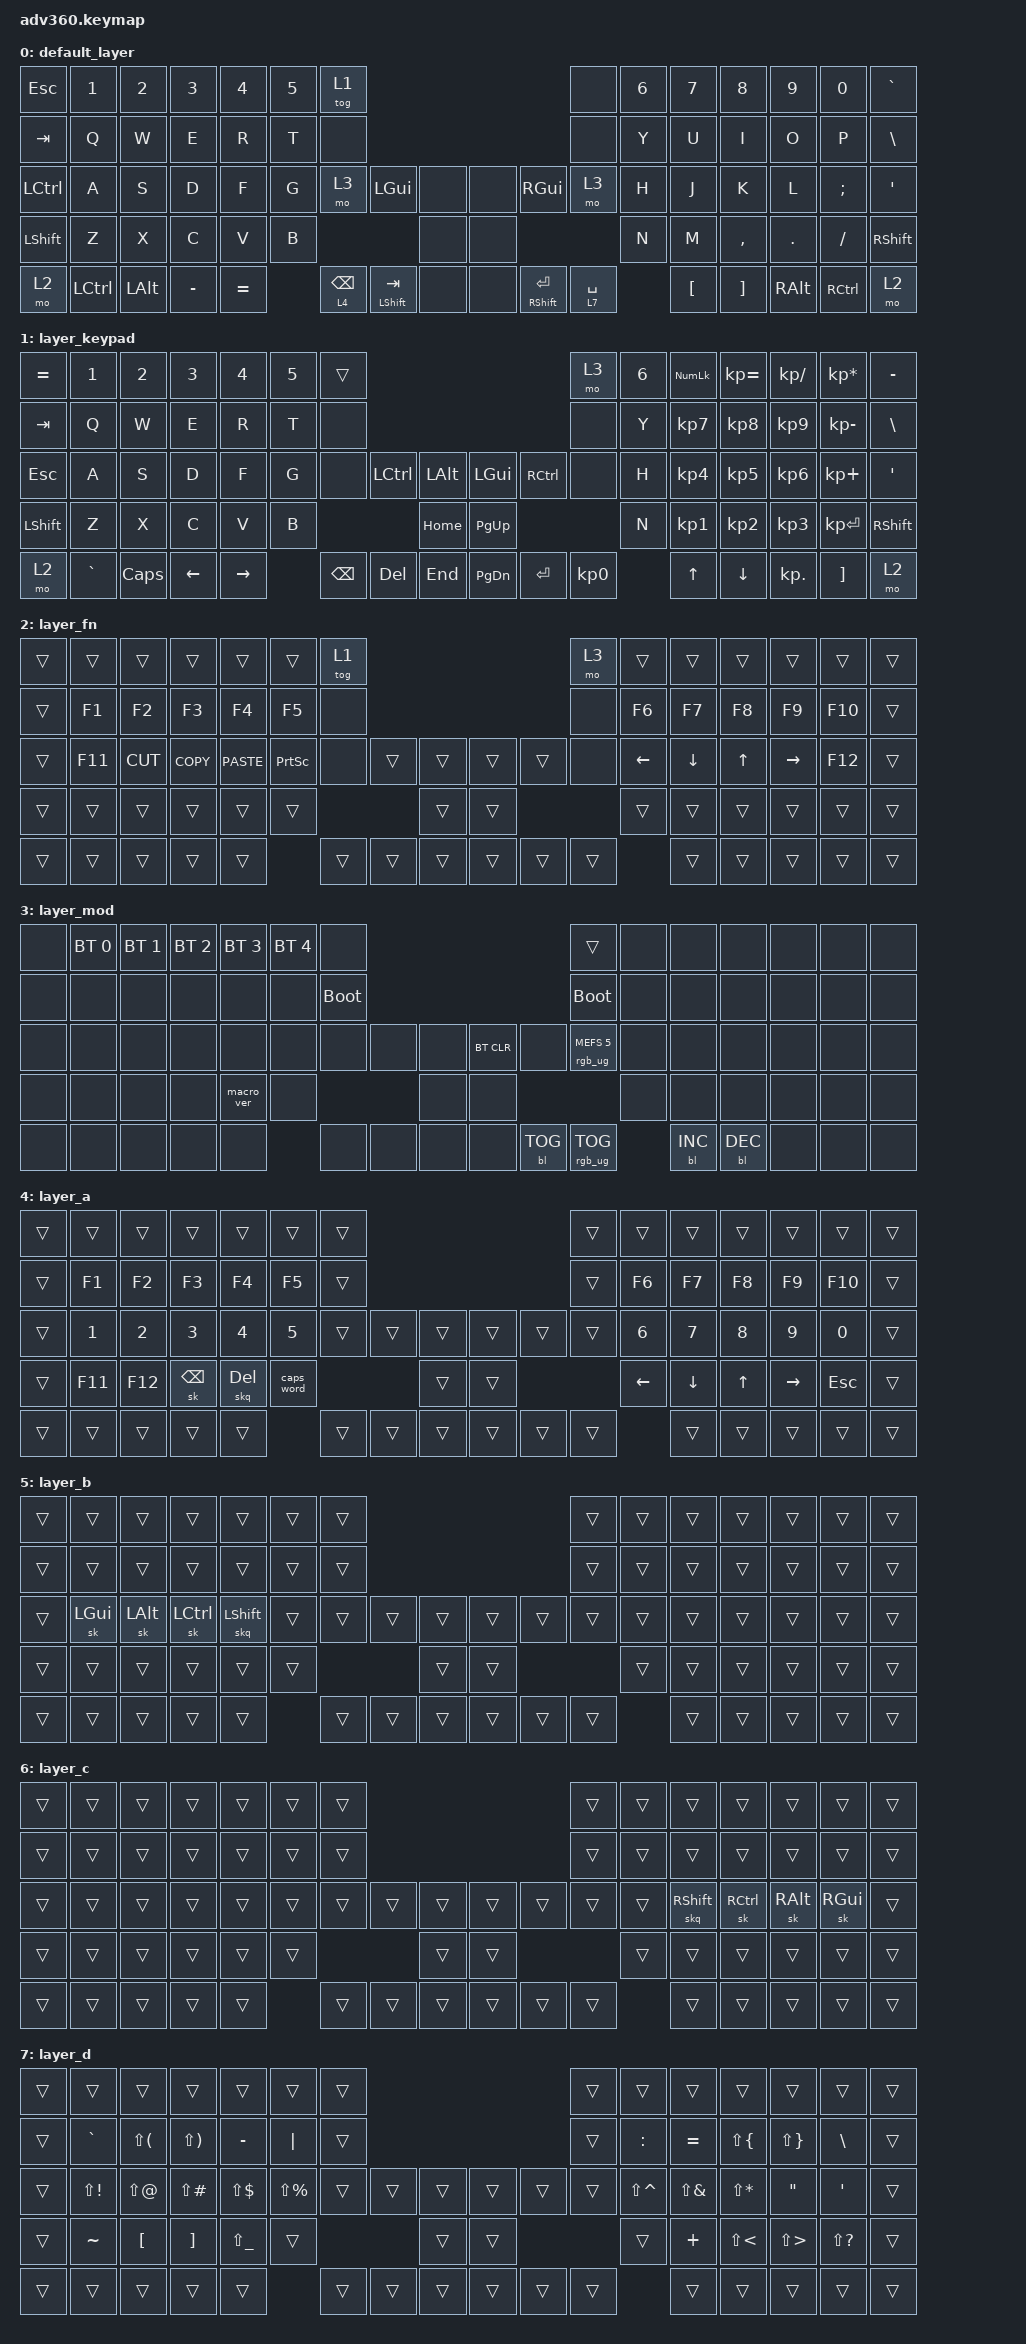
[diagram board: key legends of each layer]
/*
 * Copyright (c) 2020 The ZMK Contributors
 *
 * SPDX-License-Identifier: MIT
 */
/* THIS FILE WAS GENERATED!
 *
 * This file was generated automatically. You may or may not want to
 * edit it directly.
 */

#include <dt-bindings/zmk/stp.h>
#include <behaviors.dtsi>
#include <dt-bindings/zmk/backlight.h>
#include <dt-bindings/zmk/bt.h>
#include <dt-bindings/zmk/keys.h>
#include <dt-bindings/zmk/rgb.h>

/ {
    behaviors {
        #include "macros.dtsi"
    #include "version.dtsi"

        hm: homerow_mods {
            compatible = "zmk,behavior-hold-tap";
            label = "HOMEROW_MODS";
            #binding-cells = <2>;
            tapping-term-ms = <200>;
            quick_tap_ms = <175>;
            flavor = "tap-preferred";
            bindings = <&kp>, <&kp>;
        };

        ht_tap_kp: ht_tap_kp {
            compatible = "zmk,behavior-hold-tap";
            label = "HT_TAP_KP";
            bindings = <&kp>, <&kp>;

            #binding-cells = <2>;
            tapping-term-ms = <200>;
            flavor = "tap-preferred";
            quick-tap-ms = <150>;
        };

        ht_tap_mo: ht_tap_mo {
            compatible = "zmk,behavior-hold-tap";
            label = "HT_TAP_MO";
            bindings = <&mo>, <&kp>;

            #binding-cells = <2>;
            tapping-term-ms = <200>;
            flavor = "tap-preferred";
            quick-tap-ms = <150>;
        };

        ht_hold_kp: ht_hold_kp {
            compatible = "zmk,behavior-hold-tap";
            label = "HT_HOLD_KP";
            bindings = <&kp>, <&kp>;

            #binding-cells = <2>;
            tapping-term-ms = <150>;
            flavor = "hold-preferred";
        };

        ht_hold_mo: ht_hold_mo {
            compatible = "zmk,behavior-hold-tap";
            label = "HT_HOLD_MO";
            bindings = <&mo>, <&kp>;

            #binding-cells = <2>;
            tapping-term-ms = <150>;
            flavor = "hold-preferred";
        };

        skq: skq {
            compatible = "zmk,behavior-sticky-key";
            label = "SKQ";
            bindings = <&kp>;
            #binding-cells = <1>;
            release-after-ms = <1000>;
            quick-release;
            ignore-modifiers;
        };
    };

    combos {
        compatible = "zmk,combos";

        combo_lc {
            bindings = <&skq LCTRL>;
            key-positions = <32 31>;
            timeout-ms = <40>;
        };

        combo_lm {
            bindings = <&skq LALT>;
            key-positions = <32 30>;
            timeout-ms = <40>;
        };

        combo_lcm {
            bindings = <&skq LC(LALT)>;
            key-positions = <30 32 31>;
            timeout-ms = <40>;
        };

        combo_rc {
            bindings = <&skq RCTRL>;
            key-positions = <41 42>;
            timeout-ms = <40>;
        };

        combo_rm {
            bindings = <&skq RALT>;
            key-positions = <41 43>;
            timeout-ms = <40>;
        };

        combo_rcm {
            bindings = <&skq RC(RALT)>;
            key-positions = <42 43 41>;
            timeout-ms = <40>;
        };

        combo_lg {
            bindings = <&skq LGUI>;
            key-positions = <29 32>;
            timeout-ms = <40>;
        };

        combo_rg {
            bindings = <&skq RGUI>;
            key-positions = <41 44>;
            timeout-ms = <40>;
        };

        combo_lgc {
            bindings = <&skq LG(LCTRL)>;
            key-positions = <29 31>;
            timeout-ms = <40>;
        };

        combo_lgm {
            bindings = <&skq LG(LALT)>;
            key-positions = <29 30>;
            timeout-ms = <40>;
        };

        combo_lgcm {
            bindings = <&skq LC(LG(LALT))>;
            key-positions = <29 30 31>;
            timeout-ms = <40>;
        };

        combo_rgc {
            bindings = <&skq RG(RCTRL)>;
            key-positions = <42 44>;
            timeout-ms = <40>;
        };

        combo_rgm {
            bindings = <&skq RG(RALT)>;
            key-positions = <44 43>;
            timeout-ms = <40>;
        };

        combo_rgcm {
            bindings = <&skq RC(RG(RALT))>;
            key-positions = <44 43 42>;
            timeout-ms = <40>;
        };

        combo_lsc {
            bindings = <&skq LS(LCTRL)>;
            key-positions = <49 50>;
            timeout-ms = <40>;
        };

        combo_lsm {
            bindings = <&skq LS(LALT)>;
            key-positions = <48 50>;
            timeout-ms = <40>;
        };

        combo_lscm {
            bindings = <&skq LC(LS(LALT))>;
            key-positions = <49 48 50>;
            timeout-ms = <40>;
        };

        combo_lsg {
            bindings = <&skq LS(LGUI)>;
            key-positions = <50 47>;
            timeout-ms = <40>;
        };

        combo_lsgc {
            bindings = <&skq LG(LS(LCTRL))>;
            key-positions = <47 49>;
            timeout-ms = <40>;
        };

        combo_lsgm {
            bindings = <&skq LG(LS(LALT))>;
            key-positions = <47 48>;
            timeout-ms = <40>;
        };

        combo_lsgcm {
            bindings = <&skq LC(LG(LS(LALT)))>;
            key-positions = <47 48 49>;
            timeout-ms = <40>;
        };

        combo_rsc {
            bindings = <&skq RS(RCTRL)>;
            key-positions = <55 56>;
            timeout-ms = <40>;
        };

        combo_rsm {
            bindings = <&skq RS(RALT)>;
            key-positions = <55 57>;
            timeout-ms = <40>;
        };

        combo_rscm {
            bindings = <&skq RC(RS(RALT))>;
            key-positions = <55 56 57>;
            timeout-ms = <40>;
        };

        combo_rsg {
            bindings = <&skq RS(RGUI)>;
            key-positions = <55 58>;
            timeout-ms = <40>;
        };

        combo_rsgc {
            bindings = <&skq RG(RS(RCTRL))>;
            key-positions = <56 58>;
            timeout-ms = <40>;
        };

        combo_rsgm {
            bindings = <&skq RG(RS(RALT))>;
            key-positions = <57 58>;
            timeout-ms = <40>;
        };

        combo_rsgcm {
            bindings = <&skq RC(RG(RS(RALT)))>;
            key-positions = <56 57 58>;
            timeout-ms = <40>;
        };
    };

    keymap {
        compatible = "zmk,keymap";

        default_layer {
            bindings = <
&kp ESC    &kp N1     &kp N2    &kp N3     &kp N4     &kp N5  &tog 1                                                                               &none               &kp N6  &kp N7    &kp N8     &kp N9    &kp N0     &kp GRAVE
&kp TAB    &kp Q      &kp W     &kp E      &kp R      &kp T   &none                                                                                &none               &kp Y   &kp U     &kp I      &kp O     &kp P      &kp BSLH
&kp LCTRL  &kp A      &kp S     &kp D      &kp F      &kp G   &mo 3              &kp LGUI               &none      &none  &kp RGUI                 &mo 3               &kp H   &kp J     &kp K      &kp L     &kp SEMI   &kp SQT
&kp LSHFT  &kp Z      &kp X     &kp C      &kp V      &kp B                                             &none      &none                                               &kp N   &kp M     &kp COMMA  &kp DOT   &kp FSLH   &kp RSHFT
&mo 2      &kp LCTRL  &kp LALT  &kp MINUS  &kp EQUAL          &ht_tap_mo 4 BSPC  &ht_tap_kp LSHIFT TAB  &none      &none  &ht_tap_kp RSHIFT ENTER  &ht_tap_mo 7 SPACE          &kp LBKT  &kp RBKT   &kp RALT  &kp RCTRL  &mo 2
            >;
        };

        layer_keypad {
            bindings = <
&kp EQUAL  &kp N1     &kp N2    &kp N3    &kp N4     &kp N5  &trans                                                   &mo 3      &kp N6  &kp KP_NUM  &kp KP_EQUAL  &kp KP_DIVIDE  &kp KP_MULTIPLY  &kp MINUS
&kp TAB    &kp Q      &kp W     &kp E     &kp R      &kp T   &none                                                    &none      &kp Y   &kp KP_N7   &kp KP_N8     &kp KP_N9      &kp KP_MINUS     &kp BSLH
&kp ESC    &kp A      &kp S     &kp D     &kp F      &kp G   &none     &kp LCTRL  &kp LALT      &kp LGUI   &kp RCTRL  &none      &kp H   &kp KP_N4   &kp KP_N5     &kp KP_N6      &kp KP_PLUS      &kp SQT
&kp LSHFT  &kp Z      &kp X     &kp C     &kp V      &kp B                        &kp HOME      &kp PG_UP                        &kp N   &kp KP_N1   &kp KP_N2     &kp KP_N3      &kp KP_ENTER     &kp RSHFT
&mo 2      &kp GRAVE  &kp CAPS  &kp LEFT  &kp RIGHT          &kp BSPC  &kp DEL    &kp END       &kp PG_DN  &kp ENTER  &kp KP_N0          &kp UP      &kp DOWN      &kp KP_DOT     &kp RBKT         &mo 2
            >;
        };

        layer_fn {
            bindings = <
&trans  &trans   &trans     &trans      &trans       &trans           &tog 1                                      &mo 3   &trans          &trans          &trans        &trans           &trans   &trans
&trans  &kp F1   &kp F2     &kp F3      &kp F4       &kp F5           &none                                       &none   &kp F6          &kp F7          &kp F8        &kp F9           &kp F10  &trans
&trans  &kp F11  &kp K_CUT  &kp K_COPY  &kp K_PASTE  &kp PRINTSCREEN  &none   &trans  &trans      &trans  &trans  &none   &kp LEFT_ARROW  &kp DOWN_ARROW  &kp UP_ARROW  &kp RIGHT_ARROW  &kp F12  &trans
&trans  &trans   &trans     &trans      &trans       &trans                           &trans      &trans                  &trans          &trans          &trans        &trans           &trans   &trans
&trans  &trans   &trans     &trans      &trans                        &trans  &trans  &trans      &trans  &trans  &trans                  &trans          &trans        &trans           &trans   &trans
            >;
        };

        layer_mod {
            bindings = <
&none  &bt BT_SEL 0  &bt BT_SEL 1  &bt BT_SEL 2  &bt BT_SEL 3  &bt BT_SEL 4  &none                                                  &trans                  &none  &none       &none       &none  &none  &none
&none  &none         &none         &none         &none         &none         &bootloader                                            &bootloader             &none  &none       &none       &none  &none  &none
&none  &none         &none         &none         &none         &none         &none        &none  &none      &bt BT_CLR  &none       &rgb_ug RGB_MEFS_CMD 5  &none  &none       &none       &none  &none  &none
&none  &none         &none         &none         &macro_ver    &none                             &none      &none                                           &none  &none       &none       &none  &none  &none
&none  &none         &none         &none         &none                       &none        &none  &none      &none       &bl BL_TOG  &rgb_ug RGB_TOG                &bl BL_INC  &bl BL_DEC  &none  &none  &none
            >;
        };

        layer_a {
            bindings = <
&trans  &trans   &trans   &trans    &trans    &trans      &trans                                      &trans  &trans    &trans    &trans  &trans     &trans   &trans
&trans  &kp F1   &kp F2   &kp F3    &kp F4    &kp F5      &trans                                      &trans  &kp F6    &kp F7    &kp F8  &kp F9     &kp F10  &trans
&trans  &kp N1   &kp N2   &kp N3    &kp N4    &kp N5      &trans  &trans  &trans      &trans  &trans  &trans  &kp N6    &kp N7    &kp N8  &kp N9     &kp N0   &trans
&trans  &kp F11  &kp F12  &sk BSPC  &skq DEL  &caps_word                  &trans      &trans                  &kp LEFT  &kp DOWN  &kp UP  &kp RIGHT  &kp ESC  &trans
&trans  &trans   &trans   &trans    &trans                &trans  &trans  &trans      &trans  &trans  &trans            &trans    &trans  &trans     &trans   &trans
            >;
        };

        layer_b {
            bindings = <
&trans  &trans    &trans    &trans     &trans       &trans  &trans                                      &trans  &trans  &trans  &trans  &trans  &trans  &trans
&trans  &trans    &trans    &trans     &trans       &trans  &trans                                      &trans  &trans  &trans  &trans  &trans  &trans  &trans
&trans  &sk LGUI  &sk LALT  &sk LCTRL  &skq LSHIFT  &trans  &trans  &trans  &trans      &trans  &trans  &trans  &trans  &trans  &trans  &trans  &trans  &trans
&trans  &trans    &trans    &trans     &trans       &trans                  &trans      &trans                  &trans  &trans  &trans  &trans  &trans  &trans
&trans  &trans    &trans    &trans     &trans               &trans  &trans  &trans      &trans  &trans  &trans          &trans  &trans  &trans  &trans  &trans
            >;
        };

        layer_c {
            bindings = <
&trans  &trans  &trans  &trans  &trans  &trans  &trans                                      &trans  &trans  &trans       &trans     &trans    &trans    &trans
&trans  &trans  &trans  &trans  &trans  &trans  &trans                                      &trans  &trans  &trans       &trans     &trans    &trans    &trans
&trans  &trans  &trans  &trans  &trans  &trans  &trans  &trans  &trans      &trans  &trans  &trans  &trans  &skq RSHIFT  &sk RCTRL  &sk RALT  &sk RGUI  &trans
&trans  &trans  &trans  &trans  &trans  &trans                  &trans      &trans                  &trans  &trans       &trans     &trans    &trans    &trans
&trans  &trans  &trans  &trans  &trans          &trans  &trans  &trans      &trans  &trans  &trans          &trans       &trans     &trans    &trans    &trans
            >;
        };

        layer_d {
            bindings = <
&trans  &trans        &trans        &trans         &trans         &trans         &trans                                      &trans  &trans         &trans        &trans        &trans             &trans            &trans
&trans  &kp GRAVE     &kp LS(LPAR)  &kp LS(RPAR)   &kp MINUS      &kp PIPE       &trans                                      &trans  &kp COLON      &kp EQUAL     &kp LS(LBRC)  &kp LS(RBRC)       &kp BACKSLASH     &trans
&trans  &kp LS(EXCL)  &kp LS(AT)    &kp LS(POUND)  &kp LS(DLLR)   &kp LS(PRCNT)  &trans  &trans  &trans      &trans  &trans  &trans  &kp LS(CARET)  &kp LS(AMPS)  &kp LS(STAR)  &kp DOUBLE_QUOTES  &kp SINGLE_QUOTE  &trans
&trans  &kp TILDE     &kp LBKT      &kp RBKT       &kp LS(UNDER)  &trans                         &trans      &trans                  &trans         &kp PLUS      &kp LS(LT)    &kp LS(GT)         &kp LS(QMARK)     &trans
&trans  &trans        &trans        &trans         &trans                        &trans  &trans  &trans      &trans  &trans  &trans                 &trans        &trans        &trans             &trans            &trans
            >;
        };
    };
};
